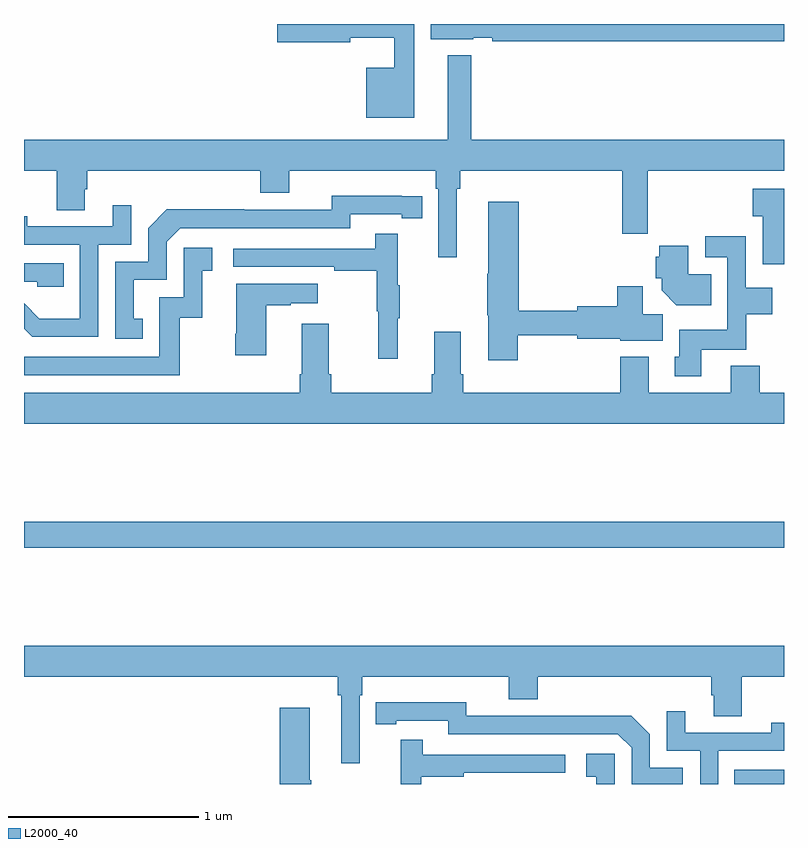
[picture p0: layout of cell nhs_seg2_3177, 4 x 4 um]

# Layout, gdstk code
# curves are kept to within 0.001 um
import gdstk
lib = gdstk.Library(unit=1e-6, precision=1e-09)
def R(c, l, rs):  # rectangles x0, y0, x1, y1
    for r in rs: c.add(gdstk.rectangle(r[:2], r[2:], *l))
def P(c, l, *ps):  # polygons
    for p in ps: c.add(gdstk.Polygon(p, *l))
L2000_40 = (2000, 40)

nhs_seg2_3177 = lib.new_cell('nhs_seg2_3177')
R(nhs_seg2_3177, L2000_40, [(282.739,585.8,283,585.876), (279,587.044,283,587.18)])
P(nhs_seg2_3177, L2000_40, [(281.053,589.8),(280.332,589.8),(280.332,589.703),(280.716,589.703),(280.716,589.727),(280.949,589.727),(280.949,589.57),(280.802,589.57),(280.802,589.307),(281.053,589.307)],
  [(283,589.8),(281.141,589.8),(281.141,589.721),(281.364,589.721),(281.364,589.727),(281.464,589.727),(281.464,589.708),(283,589.708)],
  [(281.278,588.932),(281.297,588.932),(281.297,589.028),(282.148,589.028),(282.148,588.696),(282.284,588.696),(282.284,589.028),(283,589.028),(283,589.192),(281.353,589.192),(281.353,589.636),(281.231,589.636),(281.231,589.192),(279,589.192),(279,589.028),(279.172,589.028),(279.172,588.82),(279.319,588.82),(279.319,588.93),(279.332,588.93),(279.332,589.028),(280.244,589.028),(280.244,588.911),(280.396,588.911),(280.396,589.028),(281.168,589.028),(281.168,588.932),(281.181,588.932),(281.181,588.573),(281.278,588.573)],
  [(283,588.934),(282.836,588.934),(282.836,588.787),(282.887,588.787),(282.887,588.536),(283,588.536)],
  [(279.626,588.249),(279.577,588.249),(279.577,588.453),(279.75,588.453),(279.75,588.654),(279.822,588.726),(280.716,588.726),(280.716,588.798),(280.988,588.798),(280.988,588.778),(281.096,588.778),(281.096,588.894),(280.62,588.895),(280.62,588.822),(280.16,588.822),(280.16,588.824),(279.752,588.824),(279.654,588.726),(279.654,588.549),(279.48,588.549),(279.48,588.144),(279.626,588.144)],
  [(281.598,588.162),(281.912,588.162),(281.912,588.143),(282.138,588.143),(282.138,588.134),(282.361,588.134),(282.361,588.272),(282.256,588.272),(282.256,588.421),(282.122,588.421),(282.122,588.314),(281.912,588.314),(281.912,588.29),(281.603,588.29),(281.603,588.865),(281.444,588.865),(281.444,588.485),(281.437,588.485),(281.437,588.267),(281.444,588.267),(281.444,588.03),(281.598,588.03)],
  [(279.39,588.639),(279.564,588.639),(279.564,588.847),(279.467,588.847),(279.467,588.735),(279.016,588.735),(279.016,588.787),(279,588.787),(279,588.639),(279.294,588.639),(279.294,588.25),(279.08,588.25),(279,588.33),(279,588.197),(279.044,588.153),(279.39,588.153)],
  [(280.967,588.251),(280.978,588.251),(280.978,588.425),(280.967,588.425),(280.967,588.697),(280.849,588.697),(280.849,588.618),(280.101,588.618),(280.101,588.522),(280.633,588.522),(280.633,588.502),(280.857,588.502),(280.857,588.288),(280.864,588.288),(280.864,588.039),(280.967,588.039)],
  [(282.565,588.086),(282.801,588.086),(282.801,588.272),(282.937,588.272),(282.937,588.412),(282.798,588.412),(282.798,588.682),(282.585,588.682),(282.585,588.573),(282.702,588.573),(282.702,588.19),(282.449,588.19),(282.449,588.048),(282.425,588.048),(282.425,587.946),(282.565,587.946)],
  [(282.617,588.484),(282.496,588.484),(282.496,588.634),(282.344,588.634),(282.344,588.576),(282.326,588.576),(282.326,588.462),(282.356,588.462),(282.356,588.398),(282.434,588.32),(282.617,588.32)],
  [(279.82,588.255),(279.938,588.255),(279.938,588.501),(279.991,588.501),(279.991,588.622),(279.84,588.622),(279.84,588.363),(279.711,588.363),(279.711,588.048),(279,588.048),(279,587.952),(279.82,587.952)],
  [(279.209,588.54),(279,588.54),(279,588.444),(279.069,588.444),(279.069,588.417),(279.209,588.417)],
  [(280.276,588.319),(280.403,588.319),(280.403,588.329),(280.546,588.329),(280.546,588.433),(280.118,588.433),(280.118,588.169),(280.111,588.169),(280.111,588.057),(280.276,588.057)],
  [(283,587.86),(282.872,587.86),(282.872,588.001),(282.719,588.001),(282.719,587.86),(282.289,587.86),(282.289,588.049),(282.137,588.049),(282.137,587.86),(281.312,587.86),(281.312,587.956),(281.299,587.956),(281.299,588.181),(281.159,588.181),(281.159,587.956),(281.147,587.956),(281.147,587.86),(280.616,587.86),(280.616,587.956),(280.603,587.956),(280.603,588.223),(280.463,588.223),(280.463,587.956),(280.451,587.956),(280.451,587.86),(279,587.86),(279,587.696),(283,587.696)],
  [(280.767,586.268),(280.781,586.268),(280.781,586.364),(281.552,586.364),(281.552,586.247),(281.705,586.247),(281.705,586.364),(282.617,586.364),(282.617,586.266),(282.629,586.266),(282.629,586.156),(282.777,586.156),(282.777,586.364),(283,586.364),(283,586.528),(279,586.528),(279,586.364),(280.651,586.364),(280.651,586.268),(280.67,586.268),(280.67,585.909),(280.767,585.909)],
  [(282.468,585.885),(282.294,585.885),(282.294,586.062),(282.196,586.16),(281.788,586.16),(281.788,586.158),(281.328,586.158),(281.328,586.231),(280.852,586.23),(280.852,586.114),(280.96,586.114),(280.96,586.134),(281.232,586.134),(281.232,586.062),(282.126,586.062),(282.198,585.99),(282.198,585.8),(282.468,585.8)],
  [(280.512,585.821),(280.504,585.821),(280.504,586.201),(280.346,586.201),(280.346,585.8),(280.512,585.8)],
  [(282.654,585.975),(283,585.975),(283,586.123),(282.932,586.123),(282.932,586.071),(282.481,586.071),(282.481,586.183),(282.384,586.183),(282.384,585.975),(282.558,585.975),(282.558,585.8),(282.654,585.8)],
  [(281.092,585.838),(281.315,585.838),(281.315,585.858),(281.848,585.858),(281.848,585.954),(281.099,585.954),(281.099,586.033),(280.982,586.033),(280.982,585.8),(281.092,585.8)],
  [(282.108,585.958),(281.958,585.958),(281.958,585.837),(282.011,585.837),(282.011,585.8),(282.108,585.8)])

lib.write_gds('nhs_seg2_3177.gds')
